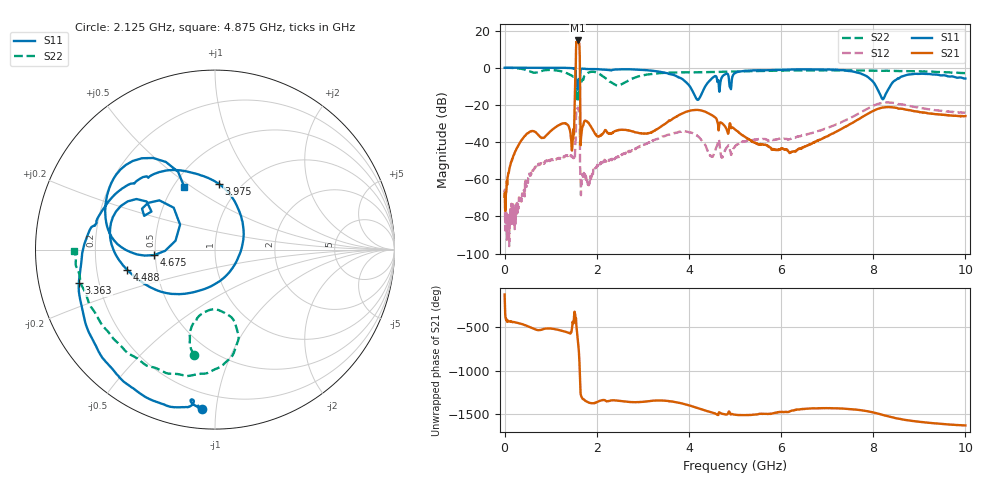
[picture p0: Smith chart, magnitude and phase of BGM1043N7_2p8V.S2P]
! (c) 2013 Infineon Technologies AG
! BGM1043N7 - FEM for Global Navigation Satellite Systems (GNSS)
! 12 sep. 2013
! Standard Application Board
! C2 = 10 nF
! Vcc = 2.8V
! RF input and output lines de-embedded
! Port 1 reference plane: LNA input AI (pin 3)
! Port 2 reference plane: LNA output AO (pin 6)
# Hz S RI R 50
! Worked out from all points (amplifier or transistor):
!   1601 points, 300 kHz to 10 GHz, reference 50 ohm
!   highest |S21| = 14.7 dB at 1.588 GHz (marker M1)
!   |S21| within 3 dB of that: 1.553 GHz to 1.624 GHz (70.61 MHz wide, 4.45 % of centre)
!   unconditionally stable (mu >= 1): start of sweep to end of sweep
!   at 1.663 GHz: K = 4232.90, MAG = -26.4 dB, |S12| = -62.2 dB
!   at 5 GHz: K = 550.54, MAG = -25.9 dB, |S12| = -42.3 dB
!   at 10 GHz: K = 58.02, MAG = -21.5 dB, |S12| = -24.2 dB
!   lowest NFmin = 1.57 dB at 1.575 GHz
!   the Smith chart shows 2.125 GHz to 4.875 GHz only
!   S11 on the Smith chart (normalised r, x): 2.125 GHz: 0.10, -0.91; 3.363 GHz: 0.12, -0.12; 3.975 GHz: 0.79, +0.67; 4.488 GHz: 0.33, -0.10; 4.675 GHz: 0.49, -0.03; 4.875 GHz: 0.57, +0.47
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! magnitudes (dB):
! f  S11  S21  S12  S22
! 300 kHz  -0.1  -69.4  -66.9  0.0
! 237.8 MHz  0.0  -44.7  -79.7  -0.2
! 481.5 MHz  0.0  -35.5  -64.0  -1.3
! 1.3 GHz  -0.1  -29.8  -47.7  -2.5
! 1.463 GHz  -0.2  -44.6  -47.4  -4.3
! 1.588 GHz  -11.2  14.7  -21.4  -12.7
! 1.669 GHz  -0.6  -35.2  -62.8  -7.4
! 1.694 GHz  -0.5  -31.5  -57.9  -6.5
! 1.825 GHz  -0.7  -29.6  -63.2  -2.6
! 2.125 GHz  -1.0  -35.6  -50.7  -4.4
! 3.338 GHz  -2.0  -32.6  -38.1  -3.0
! 3.363 GHz  -2.1  -32.2  -37.7  -2.9
! 3.975 GHz  -8.7  -23.4  -34.5  -2.5
! 4.2 GHz  -17.2  -22.7  -36.9  -2.4
! 4.488 GHz  -6.0  -25.3  -47.6  -2.4
! 4.675 GHz  -9.4  -29.5  -43.6  -2.3
! 4.875 GHz  -8.3  -31.4  -42.6  -2.1
! 5 GHz  -2.9  -33.2  -42.3  -2.1
! 5.838 GHz  -1.2  -44.1  -38.8  -1.7
! 6.669 GHz  -0.9  -40.8  -35.1  -1.5
! 8.338 GHz  -11.2  -21.2  -18.7  -1.7
! 10 GHz  -5.8  -26.0  -24.2  -2.9
